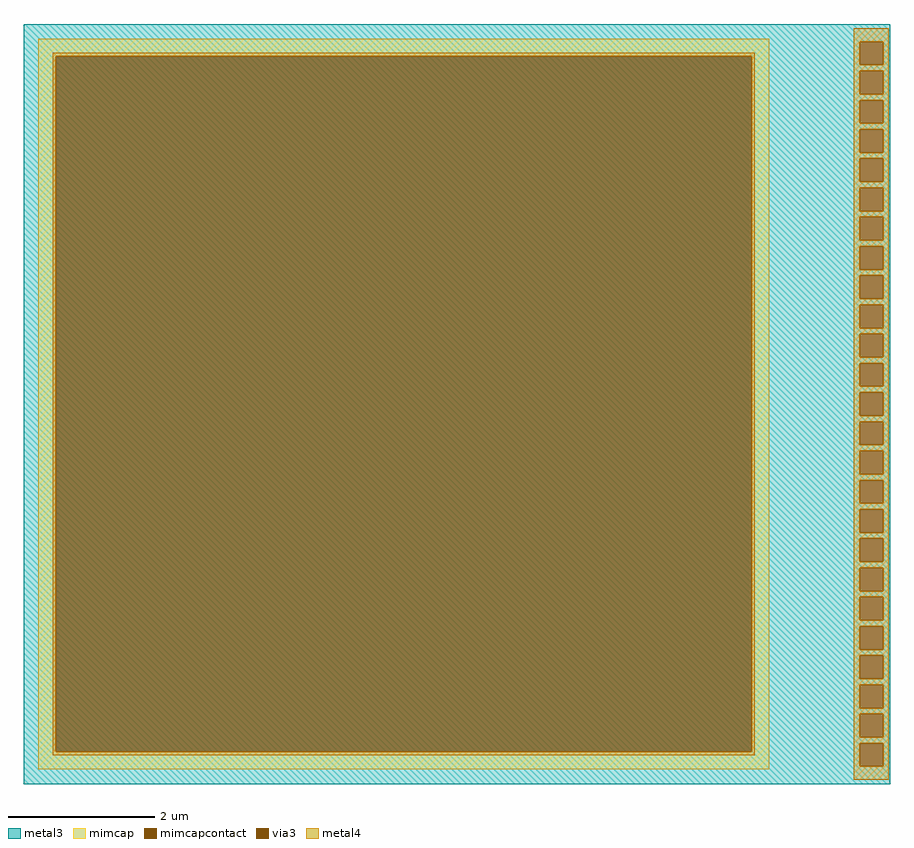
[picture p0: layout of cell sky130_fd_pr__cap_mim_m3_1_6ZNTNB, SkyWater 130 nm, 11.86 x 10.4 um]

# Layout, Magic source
magic
tech sky130A
magscale 1 2
<< metal3 >>
rect -1186 992 1186 1040
rect -1186 928 1102 992
rect 1166 928 1186 992
rect -1186 912 1186 928
rect -1186 848 1102 912
rect 1166 848 1186 912
rect -1186 832 1186 848
rect -1186 768 1102 832
rect 1166 768 1186 832
rect -1186 752 1186 768
rect -1186 688 1102 752
rect 1166 688 1186 752
rect -1186 672 1186 688
rect -1186 608 1102 672
rect 1166 608 1186 672
rect -1186 592 1186 608
rect -1186 528 1102 592
rect 1166 528 1186 592
rect -1186 512 1186 528
rect -1186 448 1102 512
rect 1166 448 1186 512
rect -1186 432 1186 448
rect -1186 368 1102 432
rect 1166 368 1186 432
rect -1186 352 1186 368
rect -1186 288 1102 352
rect 1166 288 1186 352
rect -1186 272 1186 288
rect -1186 208 1102 272
rect 1166 208 1186 272
rect -1186 192 1186 208
rect -1186 128 1102 192
rect 1166 128 1186 192
rect -1186 112 1186 128
rect -1186 48 1102 112
rect 1166 48 1186 112
rect -1186 32 1186 48
rect -1186 -32 1102 32
rect 1166 -32 1186 32
rect -1186 -48 1186 -32
rect -1186 -112 1102 -48
rect 1166 -112 1186 -48
rect -1186 -128 1186 -112
rect -1186 -192 1102 -128
rect 1166 -192 1186 -128
rect -1186 -208 1186 -192
rect -1186 -272 1102 -208
rect 1166 -272 1186 -208
rect -1186 -288 1186 -272
rect -1186 -352 1102 -288
rect 1166 -352 1186 -288
rect -1186 -368 1186 -352
rect -1186 -432 1102 -368
rect 1166 -432 1186 -368
rect -1186 -448 1186 -432
rect -1186 -512 1102 -448
rect 1166 -512 1186 -448
rect -1186 -528 1186 -512
rect -1186 -592 1102 -528
rect 1166 -592 1186 -528
rect -1186 -608 1186 -592
rect -1186 -672 1102 -608
rect 1166 -672 1186 -608
rect -1186 -688 1186 -672
rect -1186 -752 1102 -688
rect 1166 -752 1186 -688
rect -1186 -768 1186 -752
rect -1186 -832 1102 -768
rect 1166 -832 1186 -768
rect -1186 -848 1186 -832
rect -1186 -912 1102 -848
rect 1166 -912 1186 -848
rect -1186 -928 1186 -912
rect -1186 -992 1102 -928
rect 1166 -992 1186 -928
rect -1186 -1040 1186 -992
<< via3 >>
rect 1102 928 1166 992
rect 1102 848 1166 912
rect 1102 768 1166 832
rect 1102 688 1166 752
rect 1102 608 1166 672
rect 1102 528 1166 592
rect 1102 448 1166 512
rect 1102 368 1166 432
rect 1102 288 1166 352
rect 1102 208 1166 272
rect 1102 128 1166 192
rect 1102 48 1166 112
rect 1102 -32 1166 32
rect 1102 -112 1166 -48
rect 1102 -192 1166 -128
rect 1102 -272 1166 -208
rect 1102 -352 1166 -288
rect 1102 -432 1166 -368
rect 1102 -512 1166 -448
rect 1102 -592 1166 -528
rect 1102 -672 1166 -608
rect 1102 -752 1166 -688
rect 1102 -832 1166 -768
rect 1102 -912 1166 -848
rect 1102 -992 1166 -928
<< mimcap >>
rect -1146 952 854 1000
rect -1146 -952 -1098 952
rect 806 -952 854 952
rect -1146 -1000 854 -952
<< mimcapcontact >>
rect -1098 -952 806 952
<< metal4 >>
rect 1086 992 1182 1028
rect -1107 952 815 961
rect -1107 -952 -1098 952
rect 806 -952 815 952
rect -1107 -961 815 -952
rect 1086 928 1102 992
rect 1166 928 1182 992
rect 1086 912 1182 928
rect 1086 848 1102 912
rect 1166 848 1182 912
rect 1086 832 1182 848
rect 1086 768 1102 832
rect 1166 768 1182 832
rect 1086 752 1182 768
rect 1086 688 1102 752
rect 1166 688 1182 752
rect 1086 672 1182 688
rect 1086 608 1102 672
rect 1166 608 1182 672
rect 1086 592 1182 608
rect 1086 528 1102 592
rect 1166 528 1182 592
rect 1086 512 1182 528
rect 1086 448 1102 512
rect 1166 448 1182 512
rect 1086 432 1182 448
rect 1086 368 1102 432
rect 1166 368 1182 432
rect 1086 352 1182 368
rect 1086 288 1102 352
rect 1166 288 1182 352
rect 1086 272 1182 288
rect 1086 208 1102 272
rect 1166 208 1182 272
rect 1086 192 1182 208
rect 1086 128 1102 192
rect 1166 128 1182 192
rect 1086 112 1182 128
rect 1086 48 1102 112
rect 1166 48 1182 112
rect 1086 32 1182 48
rect 1086 -32 1102 32
rect 1166 -32 1182 32
rect 1086 -48 1182 -32
rect 1086 -112 1102 -48
rect 1166 -112 1182 -48
rect 1086 -128 1182 -112
rect 1086 -192 1102 -128
rect 1166 -192 1182 -128
rect 1086 -208 1182 -192
rect 1086 -272 1102 -208
rect 1166 -272 1182 -208
rect 1086 -288 1182 -272
rect 1086 -352 1102 -288
rect 1166 -352 1182 -288
rect 1086 -368 1182 -352
rect 1086 -432 1102 -368
rect 1166 -432 1182 -368
rect 1086 -448 1182 -432
rect 1086 -512 1102 -448
rect 1166 -512 1182 -448
rect 1086 -528 1182 -512
rect 1086 -592 1102 -528
rect 1166 -592 1182 -528
rect 1086 -608 1182 -592
rect 1086 -672 1102 -608
rect 1166 -672 1182 -608
rect 1086 -688 1182 -672
rect 1086 -752 1102 -688
rect 1166 -752 1182 -688
rect 1086 -768 1182 -752
rect 1086 -832 1102 -768
rect 1166 -832 1182 -768
rect 1086 -848 1182 -832
rect 1086 -912 1102 -848
rect 1166 -912 1182 -848
rect 1086 -928 1182 -912
rect 1086 -992 1102 -928
rect 1166 -992 1182 -928
rect 1086 -1028 1182 -992
<< properties >>
string FIXED_BBOX -1186 -1040 894 1040
<< end >>
